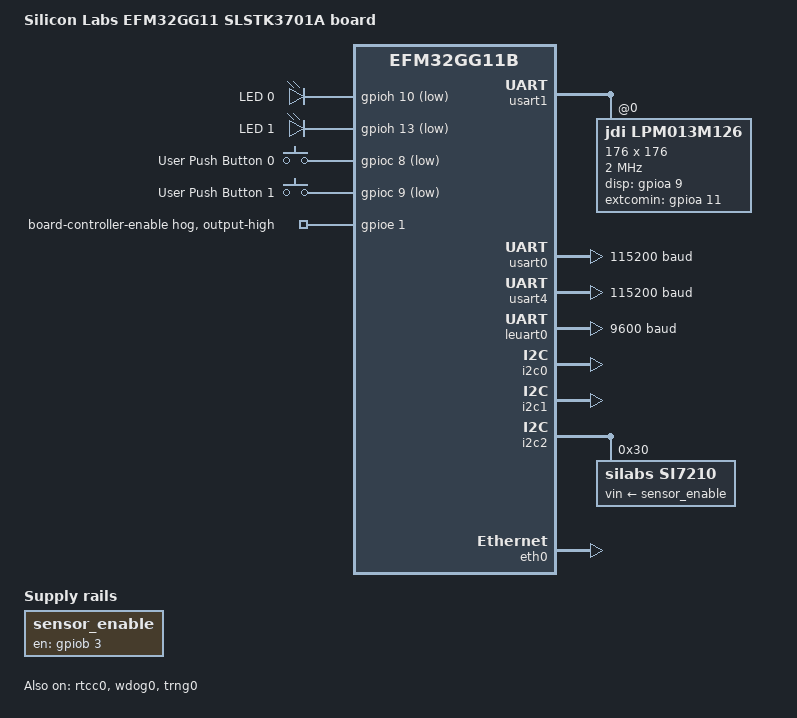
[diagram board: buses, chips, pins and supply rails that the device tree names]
/*
 * Copyright (c) 2019 Interay Solutions B.V.
 * Copyright (c) 2019 Oane Kingma
 *
 * SPDX-License-Identifier: Apache-2.0
 */

/dts-v1/;
#include <silabs/gg11/efm32gg11b820f2048gl192.dtsi>
#include <zephyr/dt-bindings/input/input-event-codes.h>
#include "slstk3701a-pinctrl.dtsi"

/ {
	model = "Silicon Labs EFM32GG11 SLSTK3701A board";
	compatible = "silabs,slstk3701a", "silabs,efm32gg11b";

	chosen {
		zephyr,console = &usart4;
		zephyr,flash = &flash0;
		zephyr,shell-uart = &usart4;
		zephyr,sram = &sram0;
		zephyr,display = &lpm013m126;
	};

	/* These aliases are provided for compatibility with samples */
	aliases {
		led0 = &led0;
		led1 = &led1;
		sw0 = &button0;
		sw1 = &button1;
		watchdog0 = &wdog0;
	};

	/* GPIOs that power up different sensors */
	sensor_enable: sensor-enable {
		compatible = "regulator-fixed";
		regulator-name = "sensor_enable";
		enable-gpios = <&gpiob 3 GPIO_ACTIVE_HIGH>;
		regulator-boot-on;
		startup-delay-us = <100000>;
	};

	leds {
		compatible = "gpio-leds";

		led0: led_0 {
			gpios = <&gpioh 10 GPIO_ACTIVE_LOW>;
			label = "LED 0";
		};

		led1: led_1 {
			gpios = <&gpioh 13 GPIO_ACTIVE_LOW>;
			label = "LED 1";
		};
	};

	buttons {
		compatible = "gpio-keys";

		button0: button_0 {
			/* gpio flags need validation */
			gpios = <&gpioc 8 GPIO_ACTIVE_LOW>;
			label = "User Push Button 0";
			zephyr,code = <INPUT_KEY_0>;
		};

		button1: button_1 {
			/* gpio flags need validation */
			gpios = <&gpioc 9 GPIO_ACTIVE_LOW>;
			label = "User Push Button 1";
			zephyr,code = <INPUT_KEY_1>;
		};
	};
};

&usart1 {
	compatible = "silabs,usart-spi";
	#address-cells = <1>;
	#size-cells = <0>;
	cs-gpios = <&gpioc 14 GPIO_ACTIVE_HIGH>;
	pinctrl-0 = <&usart1_default>;
	pinctrl-names = "default";
	status = "okay";

	lpm013m126: lpm013m126@0 {
		compatible = "jdi,lpm013m126";
		reg = <0>;
		height = <176>;
		width = <176>;
		spi-max-frequency = <2000000>;
		disp-gpios = <&gpioa 9 GPIO_ACTIVE_HIGH>;
		extcomin-gpios = <&gpioa 11 GPIO_ACTIVE_HIGH>;
		extcomin-frequency = <60>;
	};
};

&usart0 {
	current-speed = <115200>;
	pinctrl-0 = <&usart0_default>;
	pinctrl-names = "default";
	status = "okay";
};

&usart4 {
	current-speed = <115200>;
	pinctrl-0 = <&usart4_default>;
	pinctrl-names = "default";
	status = "okay";
};

&leuart0 {
	current-speed = <9600>;
	location-rx = <GECKO_LOCATION(18) GECKO_PORT_D GECKO_PIN(11)>;
	location-tx = <GECKO_LOCATION(18) GECKO_PORT_D GECKO_PIN(10)>;
	status = "okay";
};

&i2c0 {
	pinctrl-0 = <&i2c0_default>;
	pinctrl-names = "default";
	status = "okay";
};

&i2c1 {
	pinctrl-0 = <&i2c1_default>;
	pinctrl-names = "default";
	status = "okay";
};

&i2c2 {
	pinctrl-0 = <&i2c2_default>;
	pinctrl-names = "default";
	status = "okay";

	si7210: si7210@30 {
		compatible = "silabs,si7210";
		reg = <0x30>;
		vin-supply = <&sensor_enable>;
	};
};

&rtcc0 {
	prescaler = <1>;
	status = "okay";
};

&gpio {
	location-swo = <0>;
	status = "okay";
};

&gpioa {
	status = "okay";
};

&gpiob {
	status = "okay";
};

&gpioc {
	status = "okay";
};

&gpiod {
	status = "okay";
};

&gpioe {
	status = "okay";

	board-controller-enable {
		gpio-hog;
		gpios = <1 GPIO_ACTIVE_HIGH>;
		output-high;
	};
};

&gpiof {
	status = "okay";
};

&gpiog {
	status = "okay";
};

&gpioh {
	status = "okay";
};

&gpioi {
	status = "okay";
};

&eth0 {
	/* PHY address = 0 */
	phy-address = <0>;

	/* PHY management pins */
	location-mdio = <GECKO_LOCATION(1)>;
	location-phy-mdc = <GECKO_LOCATION(1) GECKO_PORT_D GECKO_PIN(14)>;
	location-phy-mdio = <GECKO_LOCATION(1) GECKO_PORT_D GECKO_PIN(13)>;

	/* RMII interface pins */
	location-rmii = <GECKO_LOCATION(1)>;
	location-rmii-crs-dv = <GECKO_LOCATION(1) GECKO_PORT_D GECKO_PIN(11)>;
	location-rmii-refclk = <GECKO_LOCATION(5) GECKO_PORT_D GECKO_PIN(10)>;
	location-rmii-rx-er = <GECKO_LOCATION(1) GECKO_PORT_D GECKO_PIN(12)>;
	location-rmii-rxd0 = <GECKO_LOCATION(1) GECKO_PORT_D GECKO_PIN(9)>;
	location-rmii-rxd1 = <GECKO_LOCATION(1) GECKO_PORT_F GECKO_PIN(9)>;
	location-rmii-tx-en = <GECKO_LOCATION(1) GECKO_PORT_F GECKO_PIN(8)>;
	location-rmii-txd0 = <GECKO_LOCATION(1) GECKO_PORT_F GECKO_PIN(7)>;
	location-rmii-txd1 = <GECKO_LOCATION(1) GECKO_PORT_F GECKO_PIN(6)>;

	status = "okay";
};

&flash0 {
	partitions {
		compatible = "fixed-partitions";
		#address-cells = <1>;
		#size-cells = <1>;

		/* Set 12Kb of storage at the end of the 2048Kb of flash */
		storage_partition: partition@1fd000 {
			reg = <0x001fd000 0x00003000>;
			label = "storage";
		};
	};
};

&wdog0 {
	status = "okay";
};

&trng0 {
	status = "okay";
};

&cpu0 {
	clock-frequency = <72000000>;
};
